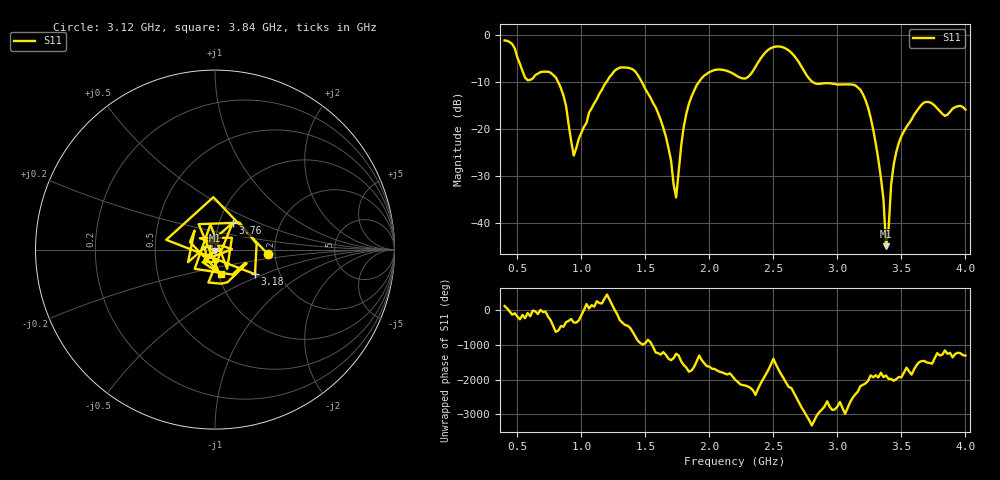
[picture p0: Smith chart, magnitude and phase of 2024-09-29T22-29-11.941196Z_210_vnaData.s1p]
!Created with skrf (http://scikit-rf.org).
# Hz S RI R 50.0
!freq ReS11 ImS11
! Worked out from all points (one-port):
!   181 points, 400 MHz to 4 GHz, reference 50 ohm
!   lowest |S11| = -44.9 dB at 3.38 GHz (marker M1), VSWR 1.01, Z = 50.1 - j0.564 ohm
!   |S11| at or under -10 dB: 818.5 MHz to 1.195 GHz (376.5 MHz wide, 37.4 % of centre); 1.472 GHz to 1.917 GHz (445.1 MHz wide, 26.3 % of centre); 2.808 GHz to end of sweep
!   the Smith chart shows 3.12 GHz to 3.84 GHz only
!   S11 on the Smith chart (normalised r, x): 3.12 GHz: 1.84, -0.11; 3.18 GHz: 1.49, -0.44; 3.76 GHz: 1.16, +0.36; 3.84 GHz: 1.02, -0.28
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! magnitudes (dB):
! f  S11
! 400 MHz  -1.1
! 580 MHz  -9.6
! 760 MHz  -8.0
! 860 MHz  -12.9
! 940 MHz  -25.6
! 1.06 GHz  -16.5
! 1.3 GHz  -6.9
! 1.58 GHz  -15.4
! 1.66 GHz  -21.6
! 1.74 GHz  -34.5
! 1.76 GHz  -29.0
! 1.82 GHz  -16.7
! 1.9 GHz  -10.7
! 2.2 GHz  -8.4
! 2.5 GHz  -2.6
! 2.66 GHz  -4.3
! 2.82 GHz  -10.2
! 3.1 GHz  -10.5
! 3.12 GHz  -10.5
! 3.18 GHz  -11.7
! 3.3 GHz  -23.1
! 3.36 GHz  -34.9
! 3.38 GHz  -44.9
! 3.44 GHz  -27.5
! 3.56 GHz  -18.8
! 3.76 GHz  -15.0
! 3.84 GHz  -17.2
! 4 GHz  -15.9
